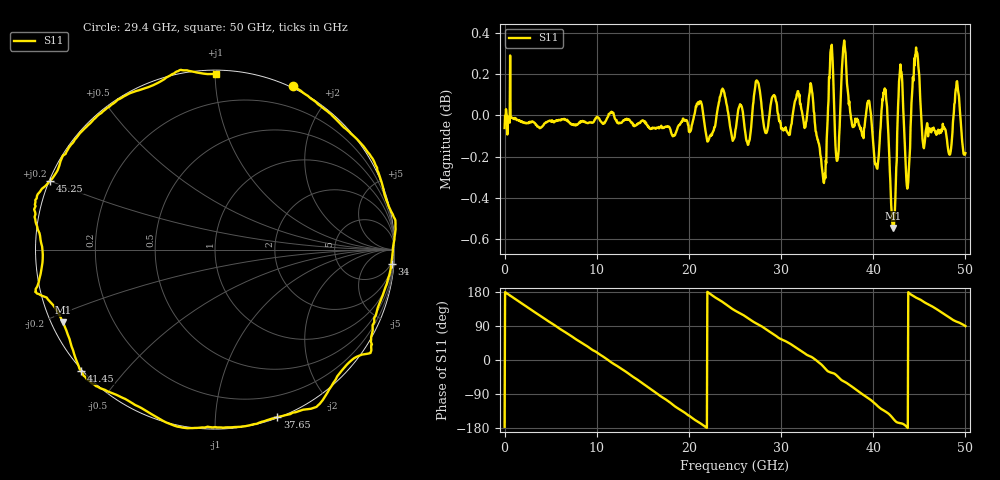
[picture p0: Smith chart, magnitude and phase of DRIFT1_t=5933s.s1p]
!Created with skrf (http://scikit-rf.org).
# Hz S RI R 50.0
!freq ReS11 ImS11
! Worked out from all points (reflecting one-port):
!   1001 points, 300 kHz to 50 GHz, reference 50 ohm
!   lowest |S11| = -0.5 dB at 42.15 GHz (marker M1), VSWR 31.77, Z = 1.66 - j11.3 ohm
!   phase of S11 starts at -176 deg and turns -814 deg over the sweep
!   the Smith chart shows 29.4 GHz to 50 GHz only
!   S11 on the Smith chart (normalised r, x): 29.4 GHz: -0.02, +1.59; 34 GHz: 4, -25; 37.65 GHz: 0.00, -1.44; 41.45 GHz: -0.00, -0.39; 45.25 GHz: 0.00, +0.20; 50 GHz: 0.02, +1.01
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300000  -0.9908 -0.0662
1.550291e9  -0.8991 0.431
3.30028e9  -0.5813 0.8084
6.250262e9  0.2003 0.9776
9.500243e9  0.8892 0.4485
1.115023e10  0.9986 0.0214
1.250022e10  0.9334 -0.3469
1.580021e10  0.2436 -0.9621
1.73502e10  -0.2073 -0.9715
1.875019e10  -0.5933 -0.7961
2.155017e10  -0.9912 -0.1371
2.350016e10  -0.9215 0.4199
2.500015e10  -0.6416 0.7537
2.735014e10  -0.1116 1.014
2.940012e10  0.4366 0.9099
3.125011e10  0.7803 0.6255
3.40001e10  0.9834 -0.0778
3.520009e10  0.8743 -0.5286
3.750008e10  0.3897 -0.923
3.765007e10  0.3478 -0.9344
3.950006e10  -0.195 -0.9886
4.145005e10  -0.747 -0.6753
4.215005e10  -0.8468 -0.4057
4.290004e10  -0.998 -0.2359
4.375004e10  -0.9609 -0.0065
4.525003e10  -0.9172 0.3842
4.775001e10  -0.4967 0.8592
5e10  0.00831 0.9791
